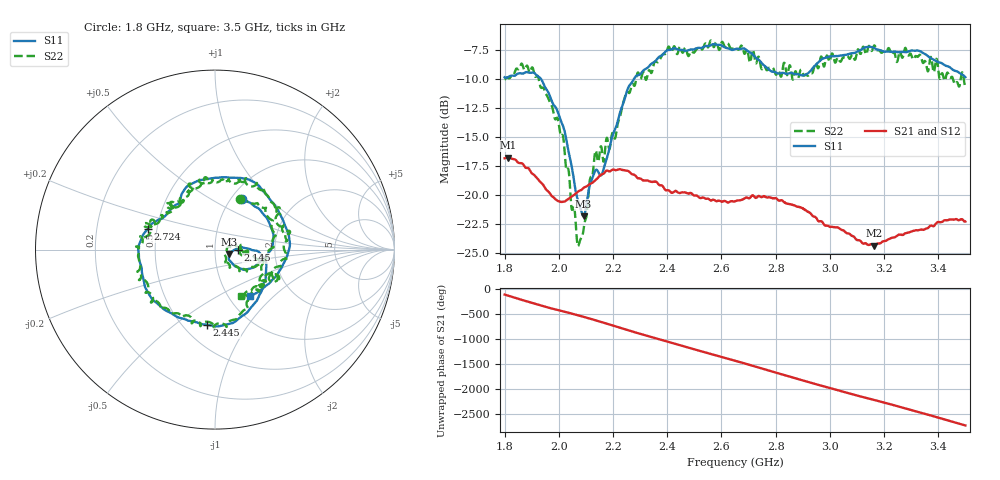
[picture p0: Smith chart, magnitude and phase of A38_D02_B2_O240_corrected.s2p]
! Created with skrf 1.9.0 (http://scikit-rf.org).
# Hz S RI R 50.0
!freq ReS11 ImS11 ReS21 ImS21 ReS12 ImS12 ReS22 ImS22
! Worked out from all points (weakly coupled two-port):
!   1601 points, 1.8 GHz to 3.5 GHz, reference 50 ohm
!   highest |S21| = -16.76 dB at 1.812 GHz (marker M1); lowest = -24.3 dB at 3.162 GHz (marker M2)
!   lowest |S11| = -21.8 dB at 2.091 GHz (marker M3), VSWR 1.18, Z = 58.3 - j2.86 ohm
!   |S11| at or under -10 dB: 1.934 GHz to 2.277 GHz (343.2 MHz wide, 16.3 % of centre)
!   |S22| runs from -24.4 to -6.7 dB; largest |S21 - S12| = 0.0025
!   S11 on the Smith chart (normalised r, x): 1.8 GHz: 1.12, +0.71; 2.145 GHz: 1.29, -0.00; 2.445 GHz: 0.65, -0.66; 2.724 GHz: 0.44, +0.12; 3.5 GHz: 1.25, -0.72
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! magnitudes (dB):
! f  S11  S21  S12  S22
! 1.8 GHz  -9.9  -16.8  -16.8  -10.1
! 1.812 GHz  -9.9  -16.8  -16.8  -9.9
! 1.901 GHz  -9.5  -18.1  -18.1  -9.0
! 1.952 GHz  -10.8  -19.5  -19.4  -11.3
! 2.011 GHz  -13.8  -20.6  -20.6  -14.8
! 2.069 GHz  -20.3  -19.7  -19.8  -24.3
! 2.084 GHz  -21.4  -19.5  -19.5  -23.6
! 2.091 GHz  -21.8  -19.4  -19.4  -23.0
! 2.129 GHz  -18.2  -18.8  -18.8  -17.2
! 2.145 GHz  -18.0  -18.5  -18.5  -17.1
! 2.163 GHz  -17.9  -18.2  -18.1  -17.0
! 2.209 GHz  -14.3  -17.8  -17.8  -15.0
! 2.259 GHz  -10.6  -18.0  -18.0  -11.2
! 2.367 GHz  -8.2  -19.1  -19.0  -8.5
! 2.445 GHz  -7.5  -19.8  -19.8  -7.3
! 2.65 GHz  -7.4  -20.5  -20.5  -7.3
! 2.724 GHz  -8.1  -20.2  -20.2  -8.5
! 2.808 GHz  -9.5  -20.4  -20.4  -9.4
! 2.934 GHz  -9.2  -21.7  -21.7  -9.5
! 3.162 GHz  -7.3  -24.3  -24.3  -7.2
! 3.217 GHz  -7.6  -23.8  -23.8  -7.4
! 3.5 GHz  -9.9  -22.3  -22.3  -10.5
